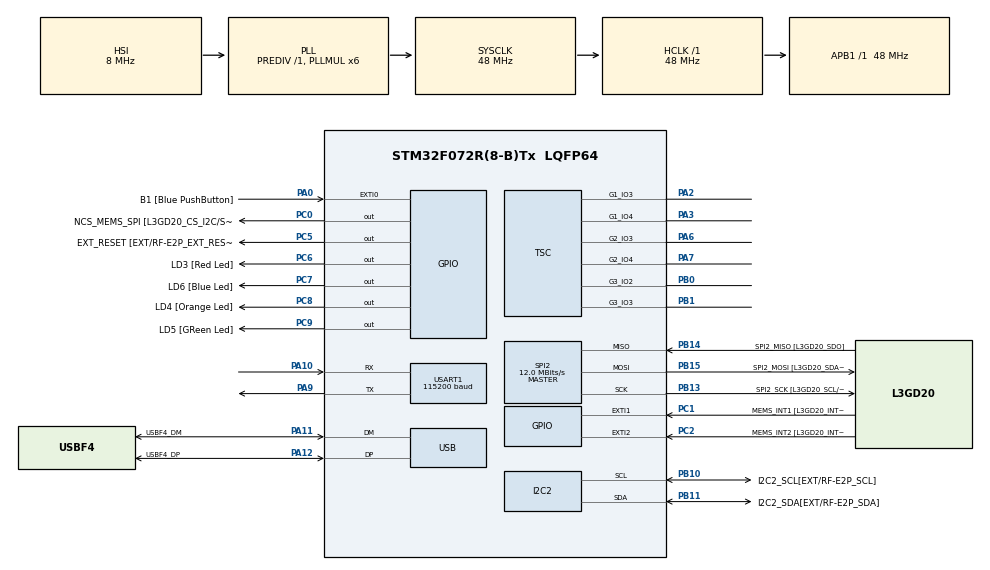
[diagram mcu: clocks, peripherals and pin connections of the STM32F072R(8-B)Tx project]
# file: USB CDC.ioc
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I2C2.Timing=0x20303E5D
Mcu.Family=STM32F0
Mcu.Name=STM32F072R(8-B)Tx
Mcu.Package=LQFP64
NVIC.USART1_IRQn=true\:0\:0\:false\:false\:true\:true
NVIC.USB_IRQn=true\:0\:0\:false\:false\:true\:false
PA0.GPIO_Label=B1 [Blue PushButton]
PA0.GPIO_ModeDefaultEXTI=GPIO_MODE_EVT_RISING
PA0.Signal=GPXTI0
PA10.Mode=Asynchronous
PA10.Signal=USART1_RX
PA11.GPIO_Label=USBF4_DM
PA11.Mode=Device
PA11.Signal=USB_DM
PA12.GPIO_Label=USBF4_DP
PA12.Mode=Device
PA12.Signal=USB_DP
PA13.GPIO_Label=SWDIO
PA13.Mode=Serial_Wire
PA13.Signal=SYS_SWDIO
PA14.GPIO_Label=SWCLK
PA14.Mode=Serial_Wire
PA14.Signal=SYS_SWCLK
PA2.Mode=G1_IO3-Sampling
PA2.Signal=TSC_G1_IO3
PA3.Mode=G1_IO4-Channel
PA3.Signal=TSC_G1_IO4
PA6.Mode=G2_IO3-Sampling
PA6.Signal=TSC_G2_IO3
PA7.Mode=G2_IO4-Channel
PA7.Signal=TSC_G2_IO4
PA9.Mode=Asynchronous
PA9.Signal=USART1_TX
PB0.Mode=G3_IO2-Sampling
PB0.Signal=TSC_G3_IO2
PB1.Mode=G3_IO3-Channel
PB1.Signal=TSC_G3_IO3
PB10.GPIO_Label=I2C2_SCL[EXT/RF-E2P_SCL]
PB10.Mode=I2C
PB10.Signal=I2C2_SCL
PB11.GPIO_Label=I2C2_SDA[EXT/RF-E2P_SDA]
PB11.Mode=I2C
PB11.Signal=I2C2_SDA
PB13.GPIO_Label=SPI2_SCK [L3GD20_SCL/SPC]
PB13.Mode=Full_Duplex_Master
PB13.Signal=SPI2_SCK
PB14.GPIO_Label=SPI2_MISO [L3GD20_SDO]
PB14.Mode=Full_Duplex_Master
PB14.Signal=SPI2_MISO
PB15.GPIO_Label=SPI2_MOSI [L3GD20_SDA/SDI]
PB15.Mode=Full_Duplex_Master
PB15.Signal=SPI2_MOSI
PC0.GPIO_Label=NCS_MEMS_SPI [L3GD20_CS_I2C/SPI]
PC0.Signal=GPIO_Output
PC1.GPIO_Label=MEMS_INT1 [L3GD20_INT1]
PC1.GPIO_ModeDefaultEXTI=GPIO_MODE_EVT_RISING
PC1.Signal=GPXTI1
PC2.GPIO_Label=MEMS_INT2 [L3GD20_INT2]
PC2.GPIO_ModeDefaultEXTI=GPIO_MODE_EVT_RISING
PC2.Signal=GPXTI2
PC5.GPIO_Label=EXT_RESET [EXT/RF-E2P_EXT_RESET]
PC5.Signal=GPIO_Output
PC6.GPIO_Label=LD3 [Red Led]
PC6.Signal=GPIO_Output
PC7.GPIO_Label=LD6 [Blue Led]
PC7.Signal=GPIO_Output
PC8.GPIO_Label=LD4 [Orange Led]
PC8.Signal=GPIO_Output
PC9.GPIO_Label=LD5 [GReen Led]
PC9.Signal=GPIO_Output
ProjectManager.HeapSize=0x200
ProjectManager.StackSize=0x400
ProjectManager.TargetToolchain=SW4STM32
RCC.AHBFreq_Value=48000000
RCC.APB1Freq_Value=48000000
RCC.APB1TimFreq_Value=48000000
RCC.HCLKFreq_Value=48000000
RCC.PLLMUL=RCC_PLL_MUL6
RCC.SYSCLKFreq_VALUE=48000000
RCC.SYSCLKSource=RCC_SYSCLKSOURCE_PLLCLK
SPI2.BaudRatePrescaler=SPI_BAUDRATEPRESCALER_4
SPI2.CalculateBaudRate=12.0 MBits/s
SPI2.Direction=SPI_DIRECTION_2LINES
SPI2.Mode=SPI_MODE_MASTER
SPI2.VirtualType=VM_MASTER
USART1.BaudRate=115200
USART1.VirtualMode-Asynchronous=VM_ASYNC
USART1.WordLength=WORDLENGTH_8B
USB.phy_itface=PCD_PHY_EMBEDDED
USB.speed=PCD_SPEED_FULL
USB_DEVICE.CLASS_NAME_FS=CDC
USB_DEVICE.VirtualMode=Cdc
USB_DEVICE.VirtualModeFS=Cdc_FS
VP_USB_DEVICE_VS_USB_DEVICE_CDC_FS.Mode=CDC_FS
board=32F072BDISCOVERY

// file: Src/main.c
/**
  ******************************************************************************
  * @file           : main.c
  * @brief          : Main program body
  ******************************************************************************
  * This notice applies to any and all portions of this file
  * that are not between comment pairs USER CODE BEGIN and
  * USER CODE END. Other portions of this file, whether
  * inserted by the user or by software development tools
  * are owned by their respective copyright owners.
  *
  * Copyright (c) 2018 STMicroelectronics International N.V.
  * All rights reserved.
  *
  * Redistribution and use in source and binary forms, with or without
  * modification, are permitted, provided that the following conditions are met:
  *
  * 1. Redistribution of source code must retain the above copyright notice,
  *    this list of conditions and the following disclaimer.
  * 2. Redistributions in binary form must reproduce the above copyright notice,
  *    this list of conditions and the following disclaimer in the documentation
  *    and/or other materials provided with the distribution.
  * 3. Neither the name of STMicroelectronics nor the names of other
  *    contributors to this software may be used to endorse or promote products
  *    derived from this software without specific written permission.
  * 4. This software, including modifications and/or derivative works of this
  *    software, must execute solely and exclusively on microcontroller or
  *    microprocessor devices manufactured by or for STMicroelectronics.
  * 5. Redistribution and use of this software other than as permitted under
  *    this license is void and will automatically terminate your rights under
  *    this license.
  *
  * THIS SOFTWARE IS PROVIDED BY STMICROELECTRONICS AND CONTRIBUTORS "AS IS"
  * AND ANY EXPRESS, IMPLIED OR STATUTORY WARRANTIES, INCLUDING, BUT NOT
  * LIMITED TO, THE IMPLIED WARRANTIES OF MERCHANTABILITY, FITNESS FOR A
  * PARTICULAR PURPOSE AND NON-INFRINGEMENT OF THIRD PARTY INTELLECTUAL PROPERTY
  * RIGHTS ARE DISCLAIMED TO THE FULLEST EXTENT PERMITTED BY LAW. IN NO EVENT
  * SHALL STMICROELECTRONICS OR CONTRIBUTORS BE LIABLE FOR ANY DIRECT, INDIRECT,
  * INCIDENTAL, SPECIAL, EXEMPLARY, OR CONSEQUENTIAL DAMAGES (INCLUDING, BUT NOT
  * LIMITED TO, PROCUREMENT OF SUBSTITUTE GOODS OR SERVICES; LOSS OF USE, DATA,
  * OR PROFITS; OR BUSINESS INTERRUPTION) HOWEVER CAUSED AND ON ANY THEORY OF
  * LIABILITY, WHETHER IN CONTRACT, STRICT LIABILITY, OR TORT (INCLUDING
  * NEGLIGENCE OR OTHERWISE) ARISING IN ANY WAY OUT OF THE USE OF THIS SOFTWARE,
  * EVEN IF ADVISED OF THE POSSIBILITY OF SUCH DAMAGE.
  *
  ******************************************************************************
  */
#include "main.h"
#include "stm32f0xx_hal.h"
#include "usb_device.h"
#include "usbd_cdc_if.h"

I2C_HandleTypeDef hi2c2;

SPI_HandleTypeDef hspi2;

TSC_HandleTypeDef htsc;

UART_HandleTypeDef huart1;

/* USER CODE BEGIN PV */
/* Private variables ---------------------------------------------------------*/

/* USER CODE END PV */

void SystemClock_Config(void);
static void MX_GPIO_Init(void);
static void MX_I2C2_Init(void);
static void MX_SPI2_Init(void);
static void MX_TSC_Init(void);
static void MX_USART1_UART_Init(void);

/* USER CODE BEGIN PFP */
/* Private function prototypes -----------------------------------------------*/
char BufferTx[64];
uint8_t RxIndex = 0;
volatile char BufferRx[64];
volatile uint8_t RxData = 0;

char BufferUsbTx[64];
volatile uint8_t UsbTxIndex = 0;

char BufferUsbRx[64];
volatile uint8_t UsbRxIndex = 0;

extern static int8_t CDC_Receive_FS(uint8_t* Buf, uint32_t *Len);

/* USER CODE END PFP */

int main(void)
{
  /* USER CODE BEGIN 1 */

	sprintf(BufferTx, "Hello UART1 - Mais dados\r\n");

  /* USER CODE END 1 */

  /* MCU Configuration----------------------------------------------------------*/

  /* Reset of all peripherals, Initializes the Flash interface and the Systick. */
  HAL_Init();

  /* Configure the system clock */
  SystemClock_Config();

  /* Initialize all configured peripherals */
  MX_GPIO_Init();
  MX_I2C2_Init();
  MX_SPI2_Init();
  MX_TSC_Init();
  MX_USB_DEVICE_Init();
  MX_USART1_UART_Init();
  //__HAL_UART_ENABLE_IT(&huart1, UART_IT_RXNE);//enable rx interrupts
  //__HAL_UART_ENABLE_IT(&huart1, UART_IT_TC);

  HAL_UART_Receive_IT(&huart1, &RxData, 1);

  /* Infinite loop */
  /* USER CODE BEGIN WHILE */
  while (1)
  {

	  HAL_Delay(20);
	  HAL_UART_Transmit_IT(&huart1, BufferTx, strlen(BufferTx));
	  HAL_GPIO_TogglePin(LD4_GPIO_Port, LD4_Pin);

	   if(RxIndex!=0){

		   HAL_GPIO_WritePin(LD3_GPIO_Port, LD3_Pin, 1);
		   memcpy(BufferUsbTx, BufferRx, RxIndex);
		   UsbTxIndex = RxIndex;

		   RxIndex  = 0;

		   CDC_Transmit_FS(BufferUsbTx,  UsbTxIndex);
		   HAL_GPIO_WritePin(LD3_GPIO_Port, LD3_Pin, 0);
	   }

	   while( CDC_Receive_FS(BufferUsbRx, UsbRxIndex)==USBD_OK ){

	   }

  /* USER CODE END WHILE */

  }

}

void SystemClock_Config(void)
{

  RCC_OscInitTypeDef RCC_OscInitStruct;
  RCC_ClkInitTypeDef RCC_ClkInitStruct;
  RCC_PeriphCLKInitTypeDef PeriphClkInit;

    /**Initializes the CPU, AHB and APB busses clocks
    */
  RCC_OscInitStruct.OscillatorType = RCC_OSCILLATORTYPE_HSI|RCC_OSCILLATORTYPE_HSI48;
  RCC_OscInitStruct.HSIState = RCC_HSI_ON;
  RCC_OscInitStruct.HSI48State = RCC_HSI48_ON;
  RCC_OscInitStruct.HSICalibrationValue = 16;
  RCC_OscInitStruct.PLL.PLLState = RCC_PLL_ON;
  RCC_OscInitStruct.PLL.PLLSource = RCC_PLLSOURCE_HSI;
  RCC_OscInitStruct.PLL.PLLMUL = RCC_PLL_MUL6;
  RCC_OscInitStruct.PLL.PREDIV = RCC_PREDIV_DIV1;
  if (HAL_RCC_OscConfig(&RCC_OscInitStruct) != HAL_OK)
  {
    _Error_Handler(__FILE__, __LINE__);
  }

    /**Initializes the CPU, AHB and APB busses clocks
    */
  RCC_ClkInitStruct.ClockType = RCC_CLOCKTYPE_HCLK|RCC_CLOCKTYPE_SYSCLK
                              |RCC_CLOCKTYPE_PCLK1;
  RCC_ClkInitStruct.SYSCLKSource = RCC_SYSCLKSOURCE_PLLCLK;
  RCC_ClkInitStruct.AHBCLKDivider = RCC_SYSCLK_DIV1;
  RCC_ClkInitStruct.APB1CLKDivider = RCC_HCLK_DIV1;

  if (HAL_RCC_ClockConfig(&RCC_ClkInitStruct, FLASH_LATENCY_1) != HAL_OK)
  {
    _Error_Handler(__FILE__, __LINE__);
  }

  PeriphClkInit.PeriphClockSelection = RCC_PERIPHCLK_USB|RCC_PERIPHCLK_USART1;
  PeriphClkInit.Usart1ClockSelection = RCC_USART1CLKSOURCE_PCLK1;
  PeriphClkInit.UsbClockSelection = RCC_USBCLKSOURCE_HSI48;

  if (HAL_RCCEx_PeriphCLKConfig(&PeriphClkInit) != HAL_OK)
  {
    _Error_Handler(__FILE__, __LINE__);
  }

    /**Configure the Systick interrupt time
    */
  HAL_SYSTICK_Config(HAL_RCC_GetHCLKFreq()/1000);

    /**Configure the Systick
    */
  HAL_SYSTICK_CLKSourceConfig(SYSTICK_CLKSOURCE_HCLK);

  /* SysTick_IRQn interrupt configuration */
  HAL_NVIC_SetPriority(SysTick_IRQn, 0, 0);
}

/* I2C2 init function */
static void MX_I2C2_Init(void)
{

  hi2c2.Instance = I2C2;
  hi2c2.Init.Timing = 0x20303E5D;
  hi2c2.Init.OwnAddress1 = 0;
  hi2c2.Init.AddressingMode = I2C_ADDRESSINGMODE_7BIT;
  hi2c2.Init.DualAddressMode = I2C_DUALADDRESS_DISABLE;
  hi2c2.Init.OwnAddress2 = 0;
  hi2c2.Init.OwnAddress2Masks = I2C_OA2_NOMASK;
  hi2c2.Init.GeneralCallMode = I2C_GENERALCALL_DISABLE;
  hi2c2.Init.NoStretchMode = I2C_NOSTRETCH_DISABLE;
  if (HAL_I2C_Init(&hi2c2) != HAL_OK)
  {
    _Error_Handler(__FILE__, __LINE__);
  }

    /**Configure Analogue filter
    */
  if (HAL_I2CEx_ConfigAnalogFilter(&hi2c2, I2C_ANALOGFILTER_ENABLE) != HAL_OK)
  {
    _Error_Handler(__FILE__, __LINE__);
  }

    /**Configure Digital filter
    */
  if (HAL_I2CEx_ConfigDigitalFilter(&hi2c2, 0) != HAL_OK)
  {
    _Error_Handler(__FILE__, __LINE__);
  }

}

/* SPI2 init function */
static void MX_SPI2_Init(void)
{

  /* SPI2 parameter configuration*/
  hspi2.Instance = SPI2;
  hspi2.Init.Mode = SPI_MODE_MASTER;
  hspi2.Init.Direction = SPI_DIRECTION_2LINES;
  hspi2.Init.DataSize = SPI_DATASIZE_4BIT;
  hspi2.Init.CLKPolarity = SPI_POLARITY_LOW;
  hspi2.Init.CLKPhase = SPI_PHASE_1EDGE;
  hspi2.Init.NSS = SPI_NSS_SOFT;
  hspi2.Init.BaudRatePrescaler = SPI_BAUDRATEPRESCALER_4;
  hspi2.Init.FirstBit = SPI_FIRSTBIT_MSB;
  hspi2.Init.TIMode = SPI_TIMODE_DISABLE;
  hspi2.Init.CRCCalculation = SPI_CRCCALCULATION_DISABLE;
  hspi2.Init.CRCPolynomial = 7;
  hspi2.Init.CRCLength = SPI_CRC_LENGTH_DATASIZE;
  hspi2.Init.NSSPMode = SPI_NSS_PULSE_ENABLE;
  if (HAL_SPI_Init(&hspi2) != HAL_OK)
  {
    _Error_Handler(__FILE__, __LINE__);
  }

}

/* TSC init function */
static void MX_TSC_Init(void)
{

    /**Configure the TSC peripheral
    */
  htsc.Instance = TSC;
  htsc.Init.CTPulseHighLength = TSC_CTPH_2CYCLES;
  htsc.Init.CTPulseLowLength = TSC_CTPL_2CYCLES;
  htsc.Init.SpreadSpectrum = DISABLE;
  htsc.Init.SpreadSpectrumDeviation = 1;
  htsc.Init.SpreadSpectrumPrescaler = TSC_SS_PRESC_DIV1;
  htsc.Init.PulseGeneratorPrescaler = TSC_PG_PRESC_DIV4;
  htsc.Init.MaxCountValue = TSC_MCV_8191;
  htsc.Init.IODefaultMode = TSC_IODEF_OUT_PP_LOW;
  htsc.Init.SynchroPinPolarity = TSC_SYNC_POLARITY_FALLING;
  htsc.Init.AcquisitionMode = TSC_ACQ_MODE_NORMAL;
  htsc.Init.MaxCountInterrupt = DISABLE;
  htsc.Init.ChannelIOs = TSC_GROUP1_IO4|TSC_GROUP2_IO4|TSC_GROUP3_IO3;
  htsc.Init.ShieldIOs = 0;
  htsc.Init.SamplingIOs = TSC_GROUP1_IO3|TSC_GROUP2_IO3|TSC_GROUP3_IO2;
  if (HAL_TSC_Init(&htsc) != HAL_OK)
  {
    _Error_Handler(__FILE__, __LINE__);
  }

}

/* USART1 init function */
static void MX_USART1_UART_Init(void)
{

  huart1.Instance = USART1;
  huart1.Init.BaudRate = 3000000;
  huart1.Init.WordLength = UART_WORDLENGTH_8B;
  huart1.Init.StopBits = UART_STOPBITS_1;
  huart1.Init.Parity = UART_PARITY_NONE;
  huart1.Init.Mode = UART_MODE_TX_RX;
  huart1.Init.HwFlowCtl = UART_HWCONTROL_NONE;
  huart1.Init.OverSampling = UART_OVERSAMPLING_16;
  huart1.Init.OneBitSampling = UART_ONE_BIT_SAMPLE_DISABLE;
  huart1.AdvancedInit.AdvFeatureInit = UART_ADVFEATURE_NO_INIT;
  if (HAL_UART_Init(&huart1) != HAL_OK)
  {
    _Error_Handler(__FILE__, __LINE__);
  }

}

/** Configure pins as
        * Analog
        * Input
        * Output
        * EVENT_OUT
        * EXTI
*/
static void MX_GPIO_Init(void)
{

  GPIO_InitTypeDef GPIO_InitStruct;

  /* GPIO Ports Clock Enable */
  __HAL_RCC_GPIOC_CLK_ENABLE();
  __HAL_RCC_GPIOA_CLK_ENABLE();
  __HAL_RCC_GPIOB_CLK_ENABLE();

  /*Configure GPIO pin Output Level */
  HAL_GPIO_WritePin(GPIOC, NCS_MEMS_SPI_Pin|EXT_RESET_Pin|LD3_Pin|LD6_Pin
                          |LD4_Pin|LD5_Pin, GPIO_PIN_RESET);

  /*Configure GPIO pins : NCS_MEMS_SPI_Pin EXT_RESET_Pin LD3_Pin LD6_Pin
                           LD4_Pin LD5_Pin */
  GPIO_InitStruct.Pin = NCS_MEMS_SPI_Pin|EXT_RESET_Pin|LD3_Pin|LD6_Pin
                          |LD4_Pin|LD5_Pin;
  GPIO_InitStruct.Mode = GPIO_MODE_OUTPUT_PP;
  GPIO_InitStruct.Pull = GPIO_NOPULL;
  GPIO_InitStruct.Speed = GPIO_SPEED_FREQ_LOW;
  HAL_GPIO_Init(GPIOC, &GPIO_InitStruct);

  /*Configure GPIO pins : MEMS_INT1_Pin MEMS_INT2_Pin */
  GPIO_InitStruct.Pin = MEMS_INT1_Pin|MEMS_INT2_Pin;
  GPIO_InitStruct.Mode = GPIO_MODE_EVT_RISING;
  GPIO_InitStruct.Pull = GPIO_NOPULL;
  HAL_GPIO_Init(GPIOC, &GPIO_InitStruct);

  /*Configure GPIO pin : B1_Pin */
  GPIO_InitStruct.Pin = B1_Pin;
  GPIO_InitStruct.Mode = GPIO_MODE_EVT_RISING;
  GPIO_InitStruct.Pull = GPIO_NOPULL;
  HAL_GPIO_Init(B1_GPIO_Port, &GPIO_InitStruct);

}

/* USER CODE BEGIN 4 */

void HAL_UART_RxCpltCallback(UART_HandleTypeDef *huart)
{
	if (huart->Instance == USART1)     //current UART
	{

		if(RxIndex == 0){
			memset(BufferRx, 0, 64);
		}

		BufferRx[RxIndex] = RxData;
		RxIndex++;

		HAL_UART_Receive_IT(&huart1, &RxData, 1);

		HAL_GPIO_TogglePin(LD6_GPIO_Port, LD6_Pin);
	}
}
void HAL_UART_TxCpltCallback(UART_HandleTypeDef *huart){
	__NOP();
}

/* USER CODE END 4 */

void _Error_Handler(char *file, int line)
{
  while(1)
  {
  }
}

/************************ (C) COPYRIGHT STMicroelectronics *****END OF FILE****/
